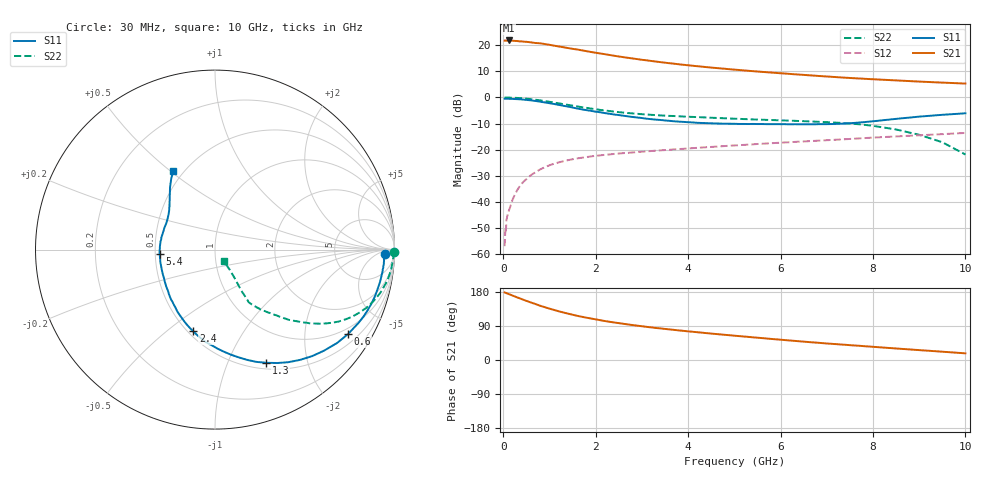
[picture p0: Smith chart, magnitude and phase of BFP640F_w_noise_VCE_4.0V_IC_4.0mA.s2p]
! Infineon Technologies  Discrete & RF Semiconductors
! BFP640F
! VCE =  4.0 V,  IC =  4.0 mA
! Common Emitter S-Parameters:  Apr 2013
# GHz  S  MA  R  50
!  f  S11  S21  S12  S22
! GHz  MAG  ANG  MAG  ANG  MAG  ANG  MAG  ANG
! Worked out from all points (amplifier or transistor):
!   99 points, 30 MHz to 10 GHz, reference 50 ohm
!   highest |S21| = 21.9 dB at 120 MHz (marker M1)
!   |S21| within 3 dB of that: start of sweep to 1.428 GHz
!   unconditionally stable (mu >= 1): 4.49 GHz to end of sweep
!   at 350 MHz: K = 0.08, MSG = 27.9 dB, |S12| = -34.3 dB
!   at 3.5 GHz: K = 0.89, MSG = 16.8 dB, |S12| = -20.2 dB
!   at 10 GHz: K = 1.13, MAG = 7.3 dB, |S12| = -13.6 dB
!   lowest NFmin = 0.49 dB at 450 MHz
!   S11 on the Smith chart (normalised r, x): 30 MHz: 29, -14; 600 MHz: 0.79, -3.26; 1.3 GHz: 0.57, -1.39; 2.4 GHz: 0.53, -0.62; 5.4 GHz: 0.53, -0.03; 10 GHz: 0.44, +0.51
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0.03  0.946 -1.6  12.29 178.3  0.0014 66.9  0.9949 -0.9
0.04  0.9457 -2.2  12.19 177.8  0.0022 73.5  0.9934 -1.2
0.05  0.9455 -2.8  12.4 177.5  0.0032 79.9  0.996 -1.5
0.06  0.9426 -3.3  12.37 176.8  0.0028 62.9  0.9932 -1.9
0.12  0.9412 -6.7  12.4 173.9  0.0066 82.7  0.9922 -3.8
0.4  0.9144 -21.9  11.9 160.7  0.0221 78.8  0.9635 -12.4
0.6  0.878 -32.4  11.4 151.7  0.0323 73.5  0.927 -18.2
0.8  0.8279 -42.9  10.93 143.1  0.0416 68.5  0.8796 -23.4
0.9  0.8028 -47.7  10.58 139.3  0.0459 66.3  0.8527 -25.9
1.1  0.7488 -56.9  9.86 132.1  0.0534 61.7  0.7969 -30.2
1.3  0.6925 -65.6  9.206 125.4  0.0596 57.9  0.7446 -33.5
1.7  0.5915 -81.5  8.018 114.1  0.0697 52.4  0.6512 -38.7
2.1  0.5187 -95.6  6.97 105.0  0.0774 48.2  0.5761 -43.1
2.4  0.4711 -104.9  6.317 99.0  0.0825 46.1  0.5358 -45.2
2.9  0.412 -119.0  5.437 90.6  0.0896 44.0  0.4852 -48.0
3.4  0.3696 -131.7  4.758 83.4  0.0966 42.5  0.4518 -50.2
4  0.3346 -145.8  4.142 75.6  0.105 41.2  0.4269 -52.0
5.1  0.31 -169.8  3.366 63.1  0.1213 38.9  0.3887 -54.7
5.4  0.3101 -175.4  3.193 59.9  0.1259 38.3  0.3786 -55.3
6.7  0.3051 159.5  2.633 46.5  0.1463 35.0  0.3449 -57.4
8.5  0.3881 130.5  2.123 30.4  0.1786 29.9  0.2429 -56.8
10  0.4963 117.9  1.846 17.6  0.2084 24.1  0.0803 -53.4
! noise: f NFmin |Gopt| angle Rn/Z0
0.45  0.49  0.47  8  0.17
0.9  0.54  0.47  21  0.17
1.5  0.58  0.47  31  0.17
1.9  0.61  0.44  44  0.17
2.4  0.67  0.4  59  0.17
3.5  0.76  0.3  79  0.18
5.5  1.02  0.24  148  0.19
10  1.8  0.46  -106  0.37
